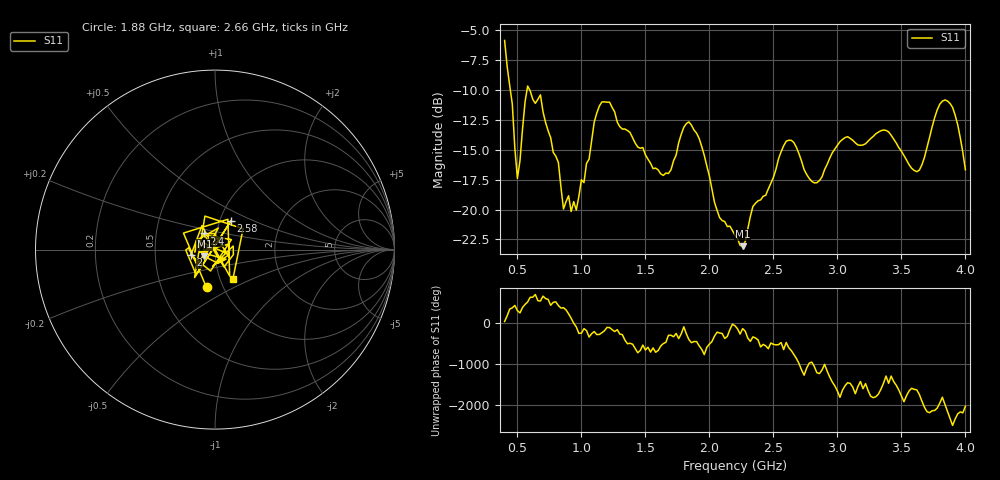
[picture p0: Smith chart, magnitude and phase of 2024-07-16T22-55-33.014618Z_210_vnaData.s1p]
!Created with skrf (http://scikit-rf.org).
# Hz S RI R 50.0
!freq ReS11 ImS11
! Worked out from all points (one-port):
!   181 points, 400 MHz to 4 GHz, reference 50 ohm
!   lowest |S11| = -23.1 dB at 2.26 GHz (marker M1), VSWR 1.15, Z = 44.3 - j3.33 ohm
!   |S11| at or under -10 dB: 444.6 MHz to 574.9 MHz (130.3 MHz wide, 25.6 % of centre); 596.2 MHz to end of sweep
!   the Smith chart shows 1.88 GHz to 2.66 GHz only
!   S11 on the Smith chart (normalised r, x): 1.88 GHz: 0.84, -0.37; 2 GHz: 0.76, -0.05; 2.4 GHz: 0.87, +0.16; 2.58 GHz: 1.13, +0.38; 2.66 GHz: 1.15, -0.39
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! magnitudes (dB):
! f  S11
! 400 MHz  -5.9
! 460 MHz  -11.2
! 500 MHz  -17.4
! 580 MHz  -9.7
! 680 MHz  -10.4
! 820 MHz  -16.1
! 860 MHz  -20.0
! 960 MHz  -20.0
! 1.16 GHz  -11.0
! 1.3 GHz  -13.1
! 1.64 GHz  -17.1
! 1.76 GHz  -14.4
! 1.88 GHz  -13.4
! 2 GHz  -17.2
! 2.08 GHz  -20.7
! 2.2 GHz  -22.1
! 2.26 GHz  -23.1
! 2.4 GHz  -19.2
! 2.58 GHz  -14.7
! 2.66 GHz  -14.4
! 2.84 GHz  -17.8
! 3.1 GHz  -14.0
! 3.38 GHz  -13.4
! 3.56 GHz  -16.3
! 3.64 GHz  -16.7
! 3.84 GHz  -10.8
! 3.92 GHz  -12.1
! 4 GHz  -16.7
